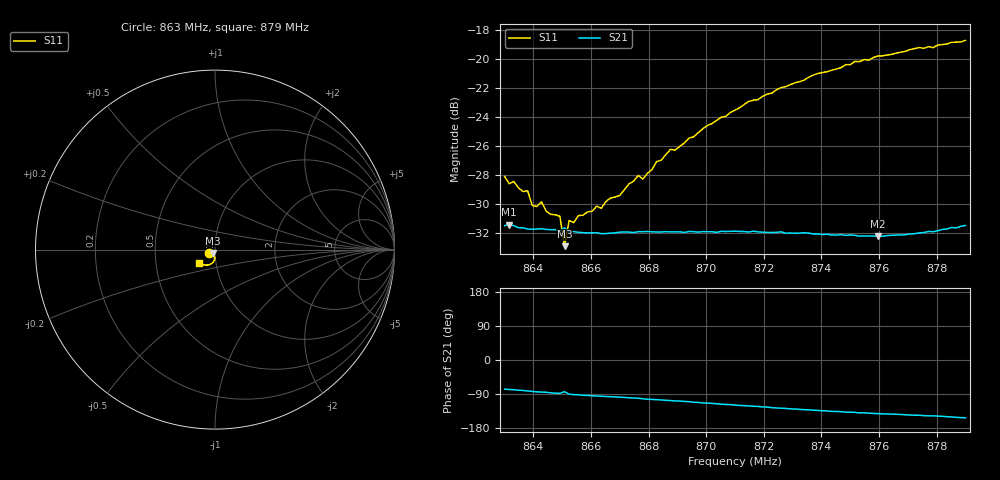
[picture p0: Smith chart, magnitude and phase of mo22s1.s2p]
# HZ S RI R 50
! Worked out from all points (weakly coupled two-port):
!   101 points, 863 MHz to 879 MHz, reference 50 ohm
!   highest |S21| = -31.44 dB at 863.16 MHz (marker M1); lowest = -32.3 dB at 875.96 MHz (marker M2)
!   lowest |S11| = -32.9 dB at 865.08 MHz (marker M3), VSWR 1.05, Z = 48.8 - j1.87 ohm
!   |S11| at or under -10 dB: start of sweep to end of sweep
!   S12 and S22 are empty: the file has one direction only
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8.63e8  -0.0341 -0.0194  0.00603 -0.0259  0 0  0 0
8.6316e8  -0.0315 -0.0196  0.00563 -0.0262  0 0  0 0
8.6332e8  -0.032 -0.02  0.0053 -0.026  0 0  0 0
8.638e8  -0.0277 -0.0214  0.00372 -0.0256  0 0  0 0
8.6396e8  -0.0247 -0.019  0.00316 -0.0256  0 0  0 0
8.6428e8  -0.0233 -0.022  0.00238 -0.0258  0 0  0 0
8.6444e8  -0.0219 -0.0202  0.00217 -0.0257  0 0  0 0
8.6492e8  -0.0186 -0.0217  0.000891 -0.0254  0 0  0 0
8.6508e8  -0.0119 -0.0191  0.0029 -0.0259  0 0  0 0
8.6524e8  -0.0151 -0.0231  -8.6e-05 -0.0252  0 0  0 0
8.654e8  -0.0131 -0.0238  -0.000627 -0.0253  0 0  0 0
8.6572e8  -0.0115 -0.0264  -0.00139 -0.0251  0 0  0 0
8.67e8  -0.00571 -0.0333  -0.00355 -0.025  0 0  0 0
8.6764e8  -0.00583 -0.0391  -0.00484 -0.0248  0 0  0 0
8.678e8  -0.00345 -0.0383  -0.00538 -0.0247  0 0  0 0
8.6844e8  -0.0017 -0.0447  -0.00667 -0.0243  0 0  0 0
8.6876e8  -0.00221 -0.0486  -0.00737 -0.0242  0 0  0 0
8.71e8  -0.00748 -0.0661  -0.0123 -0.0222  0 0  0 0
8.7372e8  -0.0276 -0.0836  -0.0168 -0.0183  0 0  0 0
8.7596e8  -0.0532 -0.0875  -0.0191 -0.0152  0 0  0 0
8.7644e8  -0.059 -0.0852  -0.0196 -0.0148  0 0  0 0
8.79e8  -0.0903 -0.0725  -0.0236 -0.0123  0 0  0 0
